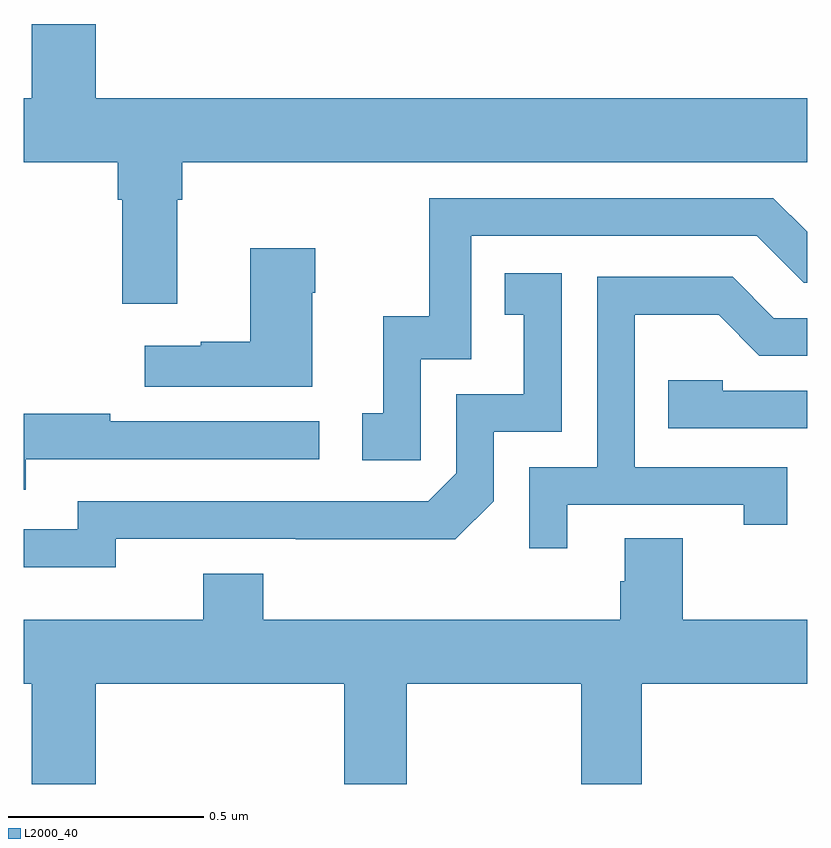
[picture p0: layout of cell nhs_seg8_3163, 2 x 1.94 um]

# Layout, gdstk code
import gdstk
lib = gdstk.Library(unit=1e-6, precision=1e-09)
def P(c, l, *ps):  # polygons
    for p in ps: c.add(gdstk.Polygon(p, *l))
L2000_40 = (2000, 40)

nhs_seg8_3163 = lib.new_cell('nhs_seg8_3163')
P(nhs_seg8_3163, L2000_40, [(153.391,1128.392),(153.404,1128.392),(153.404,1128.488),(155,1128.488),(155,1128.652),(153.184,1128.652),(153.184,1128.841),(153.02,1128.841),(153.02,1128.652),(153,1128.652),(153,1128.488),(153.239,1128.488),(153.239,1128.392),(153.251,1128.392),(153.251,1128.126),(153.391,1128.126)],
  [(154.014,1127.985),(154.143,1127.985),(154.143,1128.3),(154.872,1128.3),(154.992,1128.18),(155,1128.18),(155,1128.31),(154.914,1128.396),(154.035,1128.396),(154.035,1128.094),(153.917,1128.094),(153.917,1127.847),(153.864,1127.847),(153.864,1127.727),(154.014,1127.727)],
  [(153.736,1128.155),(153.744,1128.155),(153.744,1128.268),(153.578,1128.268),(153.578,1128.029),(153.452,1128.029),(153.452,1128.019),(153.309,1128.019),(153.309,1127.915),(153.736,1127.915)],
  [(153.234,1127.526),(153.694,1127.526),(153.694,1127.525),(154.102,1127.525),(154.2,1127.622),(154.2,1127.799),(154.374,1127.799),(154.374,1128.205),(154.228,1128.205),(154.228,1128.099),(154.277,1128.099),(154.277,1127.895),(154.104,1127.895),(154.104,1127.694),(154.032,1127.622),(153.138,1127.622),(153.138,1127.55),(153,1127.55),(153,1127.453),(153.234,1127.453)],
  [(154.387,1127.613),(154.838,1127.613),(154.838,1127.562),(154.949,1127.562),(154.949,1127.709),(154.56,1127.709),(154.56,1128.098),(154.774,1128.098),(154.878,1127.994),(155,1127.994),(155,1128.09),(154.915,1128.09),(154.81,1128.195),(154.464,1128.195),(154.464,1127.709),(154.29,1127.709),(154.29,1127.502),(154.387,1127.502)],
  [(155,1127.904),(154.785,1127.904),(154.785,1127.931),(154.645,1127.931),(154.645,1127.808),(155,1127.808)],
  [(153.005,1127.73),(153.754,1127.73),(153.754,1127.826),(153.221,1127.826),(153.221,1127.846),(153,1127.846),(153,1127.652),(153.005,1127.652)],
  [(153.184,1127.156),(153.818,1127.156),(153.818,1126.9),(153.978,1126.9),(153.978,1127.156),(154.423,1127.156),(154.423,1126.9),(154.578,1126.9),(154.578,1127.156),(155,1127.156),(155,1127.32),(154.683,1127.32),(154.683,1127.528),(154.535,1127.528),(154.535,1127.418),(154.523,1127.418),(154.523,1127.32),(153.611,1127.32),(153.611,1127.437),(153.458,1127.437),(153.458,1127.32),(153,1127.32),(153,1127.156),(153.02,1127.156),(153.02,1126.9),(153.184,1126.9)])

lib.write_gds('nhs_seg8_3163.gds')
